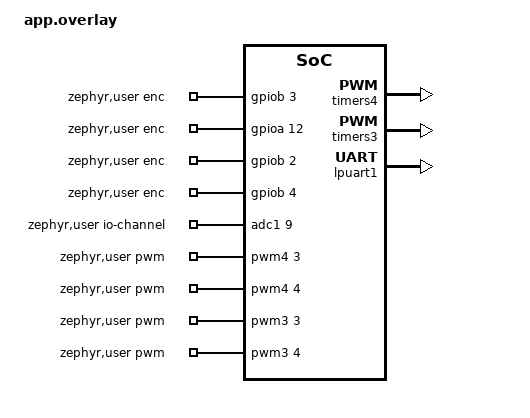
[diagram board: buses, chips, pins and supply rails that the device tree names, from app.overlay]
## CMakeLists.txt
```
cmake_minimum_required(VERSION 3.20.0)
list(APPEND ZEPHYR_EXTRA_MODULES /work/micro_ros_zephyr_module/modules/libmicroros)
find_package(Zephyr REQUIRED HINTS $ENV{ZEPHYR_BASE})
project(unoq_base)
# The 2WD base controller for the UNO Q's STM32U585. Kinematics and PID are the
# Arduino firmware's own files (firmware/common/lib), compiled against a shim
# Arduino.h; build.sh copies them to common/ beside this app.
target_sources(app PRIVATE
    src/main.cpp src/env.cpp src/drive.cpp src/test_sensors.cpp src/uart_link.cpp
    common/kinematics/kinematics.cpp common/pid/pid.cpp)
target_include_directories(app PRIVATE src src/shim common/kinematics common/pid)
# rcutils headers ask for C11 Annex K; picolibc + Zephyr 4.4 cannot provide it (see the module patch).
target_compile_definitions(app PRIVATE __STDC_WANT_LIB_EXT1__=0)
```

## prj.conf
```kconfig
# 2WD base controller on the UNO Q MCU (Zephyr 4.4 + micro-ROS jazzy).
CONFIG_MICROROS=y
CONFIG_MICROROS_TRANSPORT_SERIAL=y
# The Arduino firmware's limits (firmware/atomic.meta): an Odometry message does not
# fit a 512-byte MTU, and a best-effort stream cannot fragment.
CONFIG_MICROROS_PUBLISHERS="11"
CONFIG_MICROROS_SUBSCRIBERS="2"
CONFIG_MICROROS_XRCE_DDS_MTU="1024"

CONFIG_CPP=y
CONFIG_STD_CPP17=y
CONFIG_REQUIRES_FULL_LIBCPP=y
CONFIG_FPU=y
CONFIG_GPIO=y
CONFIG_PWM=y
CONFIG_CRC=y
# test_sensors: the Qwiic bus (i2c4), A0, the chip's unique ID
CONFIG_I2C=y
CONFIG_ADC=y
CONFIG_HWINFO=y

CONFIG_MAIN_STACK_SIZE=25000
CONFIG_MAIN_THREAD_PRIORITY=3

# Zephyr 4.4: picolibc is the default C library; clock_gettime() comes from POSIX_TIMERS.
CONFIG_POSIX_API=y
CONFIG_POSIX_TIMERS=y
CONFIG_POSIX_DEVICE_IO=y

CONFIG_STDOUT_CONSOLE=y
CONFIG_LOG=y
CONFIG_SERIAL=y
CONFIG_UART_INTERRUPT_DRIVEN=y
CONFIG_UART_USE_RUNTIME_CONFIGURE=y

# The MCU's UART console (usart1, D0/D1) does not reach Linux. printk and the fatal-error
# report go to a RAM buffer instead, read over SWD:
#   openocd ... -c "init; halt; dump_image ram_console.bin <&ram_console_buf> 4096"
CONFIG_RAM_CONSOLE=y
CONFIG_RAM_CONSOLE_BUFFER_SIZE=4096
CONFIG_LOG_MODE_MINIMAL=y
# The UART console hooks printk after the RAM console and would take it back.
CONFIG_UART_CONSOLE=n
```

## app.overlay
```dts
/*
 * UNO Q 2WD pin plan (cockpit/docs/unoq-zephyr.md), checked against Zephyr's
 * boards/arduino/uno_q/arduino_r3_connector.dtsi:
 *   motor 1 (left)  IN1/IN2  D9/D10  PB8/PB9  TIM4 CH3/CH4
 *   motor 2 (right) IN1/IN2  D3/D6   PB0/PB1  TIM3 CH3/CH4
 *   encoder 1 A/B            D2/D4   PB3/PA12
 *   encoder 2 A/B            D7/D8   PB2/PB4
 * A two-PWM bridge (DRV8833 class): forward drives IN1, reverse drives IN2.
 */
#include <zephyr/dt-bindings/pwm/pwm.h>
#include <zephyr/dt-bindings/gpio/gpio.h>

/ {
	zephyr,user {
		/* m1 in1, m1 in2, m2 in1, m2 in2; the period is set at run time from pwm_freq */
		pwms = <&pwm4 3 PWM_USEC(50) PWM_POLARITY_NORMAL>,
		       <&pwm4 4 PWM_USEC(50) PWM_POLARITY_NORMAL>,
		       <&pwm3 3 PWM_USEC(50) PWM_POLARITY_NORMAL>,
		       <&pwm3 4 PWM_USEC(50) PWM_POLARITY_NORMAL>;
		/* m1 A, m1 B, m2 A, m2 B -- EXTI lines 3, 12, 2, 4: all distinct */
		enc-gpios = <&gpiob 3 GPIO_PULL_UP>, <&gpioa 12 GPIO_PULL_UP>,
			    <&gpiob 2 GPIO_PULL_UP>, <&gpiob 4 GPIO_PULL_UP>;
		/* battery sense: A0 = PA4 = ADC1 IN9 (the board defines the channel); not 5 V tolerant */
		io-channels = <&adc1 9>;
	};
};

&timers4 {
	status = "okay";
	st,prescaler = <0>;
	pwm4: pwm {
		status = "okay";
		pinctrl-0 = <&tim4_ch3_pb8 &tim4_ch4_pb9>;
		pinctrl-names = "default";
	};
};

&timers3 {
	status = "okay";
	st,prescaler = <0>;
	pwm3: pwm {
		status = "okay";
		pinctrl-0 = <&tim3_ch3_pb0 &tim3_ch4_pb1>;
		pinctrl-names = "default";
	};
};

/*
 * micro-ROS on lpuart1, the internal link to the QRB2210 (/dev/ttyHS1). The LPUART's
 * 8-byte hardware FIFOs are off unless asked for (CR1.FIFOEN); without them a byte
 * every 3.3 us at 3 Mbaud overran the per-byte interrupt path (ISR.ORE set).
 */
&lpuart1 {
	status = "okay";
	fifo-enable;
};

/*
 * The robot's env block (firmware/common/lib/mcu_env/mcu_env.h layout: CRC32, then
 * "key=value\0...\0\0"), in the last 8 KB page of bank 2 -- clear of Arduino's
 * sketch area (storage, 0xe0000-0xfffff) and of any image this app could grow to.
 */
&flash0 {
	partitions {
		lino_env_partition: partition@1fe000 {
			label = "lino-env";
			reg = <0x001fe000 DT_SIZE_K(8)>;
			read-only;
		};
	};
};
```

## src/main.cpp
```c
// linorobot2 base controller for the Arduino UNO Q's STM32U585 (Zephyr + micro-ROS).
//
// The same contract as the Arduino firmware (firmware/src/main.cpp), so the stack
// cannot tell the boards apart: node `linorobot_base_node`, `odom/unfiltered` at
// 50 Hz (frames odom -> base_footprint), `cmd_vel` with a 200 ms dead-man, the env
// block's keys and defaults. The link is lpuart1 <-> the QRB2210's /dev/ttyHS1.
//
// Phase 3 of cockpit/docs/unoq-zephyr.md: 2WD only, no IMU or battery yet.
#include <math.h>
#include <stdio.h>
#include <string.h>
#include <time.h>
#include <zephyr/kernel.h>
#include <zephyr/drivers/gpio.h>
#include <zephyr/drivers/uart.h>
#include <zephyr/sys/printk.h>

#include <rcl/error_handling.h>
#include <rcl/rcl.h>
#include <rclc/executor.h>
#include <rclc/rclc.h>
#include <rmw_microros/rmw_microros.h>
#include <geometry_msgs/msg/twist.h>
#include <geometry_msgs/msg/twist_stamped.h>
#include <nav_msgs/msg/odometry.h>

#include "drive.h"
#include "env.h"
#include "kinematics.h"
#include "pid.h"
#include "test_sensors.h"
#include "uart_link.h"

#define NODE_NAME      "linorobot_base_node"
#define CONTROL_MS     20      // 50 Hz, as every other board
#define CMD_TIMEOUT_MS 200     // the Arduino firmware's dead-man

#define RCOK(fn) ((fn) == RCL_RET_OK)
// For calls whose failure there is nothing to do about (teardown, a best-effort
// publish): rcl marks them warn_unused_result, which a (void) cast does not silence.
static inline void rcIgnore(rcl_ret_t rc) { (void)rc; }

static const struct gpio_dt_spec led = GPIO_DT_SPEC_GET(DT_ALIAS(led0), gpios);

static rcl_allocator_t allocator;
static rclc_support_t support;
static rcl_node_t node;
static rcl_publisher_t odom_pub;
static rcl_subscription_t twist_sub, twist_stamped_sub;
static rcl_timer_t control_timer;
static rclc_executor_t executor;

static nav_msgs__msg__Odometry odom_msg;
static geometry_msgs__msg__Twist twist_msg;
static geometry_msgs__msg__TwistStamped twist_stamped_msg;
static char frame_odom[] = "odom", frame_base[] = "base_footprint";
static char twist_stamped_frame[32];

static bool stamped_cmd_vel;
static bool drive_enabled;
static int64_t last_cmd_ms = -1000000;
static int64_t last_control_ms;
static Kinematics *kinematics;
static PID *pid[DRIVE_MOTORS];
static double x_pos, y_pos, heading;
static float pose_cov[6] = {0.0001f, 0.0001f, 0, 0, 0, 0.0001f};
static float twist_cov[6] = {0.00001f, 0.00001f, 0, 0, 0, 0.00001f};

static void twistCallback(const void *msgin)
{
    (void)msgin;
    last_cmd_ms = k_uptime_get();
    gpio_pin_toggle_dt(&led);
}

static void twistStampedCallback(const void *msgin)
{
    (void)msgin;
    twist_msg = twist_stamped_msg.twist;
    last_cmd_ms = k_uptime_get();
    gpio_pin_toggle_dt(&led);
}

static void stamp(builtin_interfaces__msg__Time *t)
{
    const int64_t ns = rmw_uros_epoch_nanos();
    t->sec = (int32_t)(ns / 1000000000LL);
    t->nanosec = (uint32_t)(ns % 1000000000LL);
}

static void controlCallback(rcl_timer_t *timer, int64_t last_call_time)
{
    (void)last_call_time;
    if (timer == NULL)
        return;
    const int64_t now = k_uptime_get();
    const float dt = (float)(now - last_control_ms) / 1000.0f;
    last_control_ms = now;

    if (now - last_cmd_ms >= CMD_TIMEOUT_MS) {
        twist_msg.linear.x = twist_msg.linear.y = twist_msg.angular.z = 0.0;
        gpio_pin_set_dt(&led, 0);
    }

    float rpm[DRIVE_MOTORS];
    driveMeasure(dt, rpm);
    if (drive_enabled) {
        const Kinematics::rpm req = kinematics->getRPM((float)twist_msg.linear.x, 0.0f,
                                                       (float)twist_msg.angular.z);
        const float target[DRIVE_MOTORS] = {req.motor1, req.motor2};
        for (int m = 0; m < DRIVE_MOTORS; m++)
            driveSpin(m, (int)pid[m]->compute(target[m], rpm[m]));
    }

    const Kinematics::velocities v = kinematics->getVelocities(rpm[0], rpm[1], 0.0f, 0.0f);
    heading += v.angular_z * dt;
    x_pos += v.linear_x * cos(heading) * dt;
    y_pos += v.linear_x * sin(heading) * dt;

    stamp(&odom_msg.header.stamp);
    odom_msg.pose.pose.position.x = x_pos;
    odom_msg.pose.pose.position.y = y_pos;
    odom_msg.pose.pose.orientation.z = sin(heading / 2.0);
    odom_msg.pose.pose.orientation.w = cos(heading / 2.0);
    odom_msg.twist.twist.linear.x = v.linear_x;
    odom_msg.twist.twist.linear.y = 0.0;
    odom_msg.twist.twist.angular.z = v.angular_z;
    rcIgnore(rcl_publish(&odom_pub, &odom_msg, NULL));
}

static void initOdomMsg(void)
{
    nav_msgs__msg__Odometry__init(&odom_msg);
    odom_msg.header.frame_id.data = frame_odom;
    odom_msg.header.frame_id.size = strlen(frame_odom);
    odom_msg.header.frame_id.capacity = sizeof(frame_odom);
    odom_msg.child_frame_id.data = frame_base;
    odom_msg.child_frame_id.size = strlen(frame_base);
    odom_msg.child_frame_id.capacity = sizeof(frame_base);
    for (int i = 0; i < 6; i++) {
        odom_msg.pose.covariance[i * 7] = pose_cov[i];
        odom_msg.twist.covariance[i * 7] = twist_cov[i];
    }
}

static bool createEntities(void)
{
    allocator = rcl_get_default_allocator();
    rcl_init_options_t opts = rcl_get_zero_initialized_init_options();
    if (!RCOK(rcl_init_options_init(&opts, allocator)))
        return false;
    rcIgnore(rcl_init_options_set_domain_id(&opts, (size_t)envInt("domain_id", 0)));
    const rcl_ret_t rc = rclc_support_init_with_options(&support, 0, NULL, &opts, &allocator);
    rcIgnore(rcl_init_options_fini(&opts));
    if (!RCOK(rc))
        return false;
    if (!RCOK(rclc_node_init_default(&node, envGet("node", NODE_NAME), "", &support)))
        return false;
    // The 50 Hz topic takes the env's QoS, best effort unless told otherwise.
    const bool best_effort = envFlag("best_effort", true);
    if (!RCOK((best_effort ? rclc_publisher_init_best_effort : rclc_publisher_init_default)(
            &odom_pub, &node, ROSIDL_GET_MSG_TYPE_SUPPORT(nav_msgs, msg, Odometry), "odom/unfiltered")))
        return false;
    size_t handles = 2;
    if (stamped_cmd_vel) {
        if (!RCOK(rclc_subscription_init_default(&twist_stamped_sub, &node,
                ROSIDL_GET_MSG_TYPE_SUPPORT(geometry_msgs, msg, TwistStamped), "cmd_vel")))
            return false;
        if (!RCOK(rclc_subscription_init_default(&twist_sub, &node,
                ROSIDL_GET_MSG_TYPE_SUPPORT(geometry_msgs, msg, Twist), "cmd_vel_unstamped")))
            return false;
        handles = 3;
    } else if (!RCOK(rclc_subscription_init_default(&twist_sub, &node,
                   ROSIDL_GET_MSG_TYPE_SUPPORT(geometry_msgs, msg, Twist), "cmd_vel"))) {
        return false;
    }
    if (!RCOK(rclc_timer_init_default2(&control_timer, &support, RCL_MS_TO_NS(CONTROL_MS),
                                       controlCallback, true)))
        return false;
    executor = rclc_executor_get_zero_initialized_executor();
    if (!RCOK(rclc_executor_init(&executor, &support.context, handles, &allocator)))
        return false;
    if (stamped_cmd_vel &&
        !RCOK(rclc_executor_add_subscription(&executor, &twist_stamped_sub, &twist_stamped_msg,
                                             twistStampedCallback, ON_NEW_DATA)))
        return false;
    if (!RCOK(rclc_executor_add_subscription(&executor, &twist_sub, &twist_msg, twistCallback, ON_NEW_DATA)))
        return false;
    if (!RCOK(rclc_executor_add_timer(&executor, &control_timer)))
        return false;
    rmw_uros_sync_session(1000);
    last_control_ms = k_uptime_get();
    return true;
}

static void destroyEntities(void)
{
    rmw_context_t *ctx = rcl_context_get_rmw_context(&support.context);
    (void)rmw_uros_set_context_entity_destroy_session_timeout(ctx, 0);
    rcIgnore(rcl_publisher_fini(&odom_pub, &node));
    rcIgnore(rcl_subscription_fini(&twist_sub, &node));
    if (stamped_cmd_vel)
        rcIgnore(rcl_subscription_fini(&twist_stamped_sub, &node));
    rcIgnore(rcl_timer_fini(&control_timer));
    rcIgnore(rclc_executor_fini(&executor));
    rcIgnore(rcl_node_fini(&node));
    rcIgnore(rclc_support_fini(&support));
}

static void stopWheels(void)
{
    for (int m = 0; m < DRIVE_MOTORS; m++)
        driveSpin(m, 0);
}

int main(void)
{
    gpio_pin_configure_dt(&led, GPIO_OUTPUT_INACTIVE);
    envInit();
    // The env's `app` picks what this image runs, as on the other boards.
    const char *app = envGet("app", "base");
    if (strcmp(app, "test_sensors") == 0)
        testSensors();
    if (strcmp(app, "base") != 0)
        printk("[base] app=%s is not in this image; running base\n", app);

    const char *base = envGet("base", "2wd");
    drive_enabled = strcmp(base, "2wd") == 0;
    if (!drive_enabled)
        printk("[base] env base=%s: this board drives two wheels only; holding the motors\n", base);
    stamped_cmd_vel = envFlag("stamped_cmd_vel", false);   // jazzy: unstamped, as the Arduino firmware
    twist_stamped_msg.header.frame_id.data = twist_stamped_frame;
    twist_stamped_msg.header.frame_id.capacity = sizeof(twist_stamped_frame);

    kinematics = new Kinematics(Kinematics::DIFFERENTIAL_DRIVE,
                                envInt("max_rpm", 140), envFloat("rpm_ratio", 0.80f),
                                envFloat("motor_v", 24.0f), envFloat("power_v", 12.0f),
                                envFloat("wheel_d", 0.1f), envFloat("lr_dist", 0.271f),
                                0.0f, envFloat("angular_scale", 1.0f));
    if (!driveInit())
        printk("[base] some drive outputs failed to initialise\n");
    const float pmax = (float)drivePwmMax();
    for (int m = 0; m < DRIVE_MOTORS; m++)
        pid[m] = new PID(-pmax, pmax, envFloat("kp", 0.6f), envFloat("ki", 0.8f), envFloat("kd", 0.5f));
    initOdomMsg();
    printk("[base] linorobot2 UNO Q base: %s, %s cmd_vel\n", base, stamped_cmd_vel ? "stamped" : "unstamped");

    // The link's speed is the env's `baud`, 4000000 by default (user, 2026-10-05). The
    // link never leaves the board, so it is not held to the 921600 of the Arduino serial
    // boards' cables. At the board file's 115200 one Odometry message (~730 bytes) takes
    // 63 ms against a 20 ms control period and the polled transport write owns the CPU.
    // Sampled with 50 Hz odom: the write took 43 % of the CPU at 921600, 23 % at 1.5 M,
    // 13 % at 2 M, ~10 % at 3 M and 4 M -- the last two only with the LPUART's hardware
    // FIFOs on (app.overlay), without which 3 M overran.
    const struct device *link = DEVICE_DT_GET(DT_NODELABEL(lpuart1));
    struct uart_config link_cfg;
    const int baud = envInt("baud", 4000000);
    if (uart_config_get(link, &link_cfg) == 0) {
        link_cfg.baudrate = (uint32_t)baud;
        const int rc = uart_configure(link, &link_cfg);
        printk("[base] lpuart1 -> /dev/ttyHS1 at %d baud%s\n", baud, rc ? " FAILED" : "");
    }

    // Our interrupt-driven transport (uart_link.cpp), not the module's polled one.
    // Framing on: the link is a byte stream, as every serial micro-ROS transport.
    rmw_uros_set_custom_transport(true, NULL, uartLinkOpen, uartLinkClose, uartLinkWrite, uartLinkRead);

    enum { WAITING, CONNECTED } state = WAITING;
    int64_t last_ping = 0;
    for (;;) {
        if (state == WAITING) {
            stopWheels();
            if (rmw_uros_ping_agent(100, 1) == RMW_RET_OK) {
                if (createEntities()) {
                    printk("[base] agent connected\n");
                    state = CONNECTED;
                    last_ping = k_uptime_get();
                } else {
                    destroyEntities();
                }
            }
            k_msleep(200);
            continue;
        }
        rclc_executor_spin_some(&executor, RCL_MS_TO_NS(5));
        const int64_t now = k_uptime_get();
        if (now - last_ping > 1000) {
            last_ping = now;
            if (rmw_uros_ping_agent(50, 3) != RMW_RET_OK) {
                printk("[base] agent lost\n");
                stopWheels();
                destroyEntities();
                state = WAITING;
                continue;
            }
            if (!rmw_uros_epoch_synchronized())
                rmw_uros_sync_session(100);
        }
        static int64_t last_stats;
        if (now - last_stats >= 10000) {
            last_stats = now;
            struct UartLinkStats st;
            uartLinkStats(&st);
            printk("[link] tx %u rx %u bytes; tx waits %u, tx dropped %u, rx dropped %u, uart errors %u\n",
                   (unsigned)st.tx_bytes, (unsigned)st.rx_bytes, (unsigned)st.tx_full_waits,
                   (unsigned)st.tx_dropped, (unsigned)st.rx_dropped, (unsigned)st.uart_errors);
        }
        k_yield();
    }
}
```

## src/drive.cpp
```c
#include "drive.h"

#include <math.h>
#include <zephyr/device.h>
#include <zephyr/drivers/gpio.h>
#include <zephyr/drivers/pwm.h>
#include <zephyr/irq.h>
#include <zephyr/sys/printk.h>

#include "env.h"

#define USER_NODE DT_PATH(zephyr_user)

// in1/in2 per motor, in the overlay's order
static const struct pwm_dt_spec pwm_out[2 * DRIVE_MOTORS] = {
    PWM_DT_SPEC_GET_BY_IDX(USER_NODE, 0), PWM_DT_SPEC_GET_BY_IDX(USER_NODE, 1),
    PWM_DT_SPEC_GET_BY_IDX(USER_NODE, 2), PWM_DT_SPEC_GET_BY_IDX(USER_NODE, 3),
};
// A/B per motor
static const struct gpio_dt_spec enc_in[2 * DRIVE_MOTORS] = {
    GPIO_DT_SPEC_GET_BY_IDX(USER_NODE, enc_gpios, 0), GPIO_DT_SPEC_GET_BY_IDX(USER_NODE, enc_gpios, 1),
    GPIO_DT_SPEC_GET_BY_IDX(USER_NODE, enc_gpios, 2), GPIO_DT_SPEC_GET_BY_IDX(USER_NODE, enc_gpios, 3),
};

static uint32_t period_ns;
static int pwm_max;
static bool sim;
static float max_rpm, volt_ratio;
static int cpr[DRIVE_MOTORS];
static bool motor_inv[DRIVE_MOTORS], enc_inv[DRIVE_MOTORS];

static volatile int32_t counts[DRIVE_MOTORS];
static int32_t last_counts[DRIVE_MOTORS];
static uint8_t enc_state[DRIVE_MOTORS];
static struct gpio_callback enc_cb[2 * DRIVE_MOTORS];

// The command each wheel last got, and the model's speed, for sim_wheel.
static int last_pwm[DRIVE_MOTORS];
static float sim_rpm[DRIVE_MOTORS];
static double sim_counts[DRIVE_MOTORS];

// x4 quadrature: index (previous AB << 2) | current AB. Invalid jumps (both
// lines changed) count nothing rather than guess a direction.
static const int8_t QUAD[16] = {0, -1, 1, 0, 1, 0, 0, -1, -1, 0, 0, 1, 0, 1, -1, 0};

static void encIsr(const struct device *dev, struct gpio_callback *cb, uint32_t pins)
{
    ARG_UNUSED(dev); ARG_UNUSED(pins);
    const int m = (int)((cb - enc_cb) / 2);
    const uint8_t ab = (uint8_t)((gpio_pin_get_dt(&enc_in[2 * m]) << 1) | gpio_pin_get_dt(&enc_in[2 * m + 1]));
    counts[m] += QUAD[(enc_state[m] << 2) | ab];
    enc_state[m] = ab;
}

bool driveInit(void)
{
    const int freq = envInt("pwm_freq", 20000);
    const int bits = envInt("pwm_bits", 10);
    period_ns = (uint32_t)(1000000000ULL / (uint32_t)(freq > 0 ? freq : 20000));
    pwm_max = (1 << (bits > 0 && bits < 16 ? bits : 10)) - 1;
    sim = envFlag("sim_wheel", false);
    max_rpm = envFloat("max_rpm", 140.0f);
    const float op = envFloat("motor_v", 24.0f), pw = envFloat("power_v", 12.0f);
    volt_ratio = op > 0.0f ? fminf(fmaxf(pw / op, 0.0f), 1.0f) : 1.0f;

    static const char *const CPR[]  = {"m1_cpr", "m2_cpr"};
    static const char *const MINV[] = {"m1_inv", "m2_inv"};
    static const char *const EINV[] = {"m1_enc_inv", "m2_enc_inv"};
    bool ok = true;
    for (int m = 0; m < DRIVE_MOTORS; m++) {
        cpr[m] = envInt(CPR[m], 144000);
        motor_inv[m] = envFlag(MINV[m], false);
        enc_inv[m] = envFlag(EINV[m], false);
    }
    for (int i = 0; i < 2 * DRIVE_MOTORS; i++) {
        if (!pwm_is_ready_dt(&pwm_out[i])) { printk("[drive] pwm %d not ready\n", i); ok = false; continue; }
        pwm_set_dt(&pwm_out[i], period_ns, 0);
    }
    if (!sim) {
        for (int i = 0; i < 2 * DRIVE_MOTORS; i++) {
            if (!gpio_is_ready_dt(&enc_in[i]) || gpio_pin_configure_dt(&enc_in[i], GPIO_INPUT)) {
                printk("[drive] encoder pin %d not ready\n", i); ok = false; continue;
            }
            gpio_init_callback(&enc_cb[i], encIsr, BIT(enc_in[i].pin));
            gpio_add_callback(enc_in[i].port, &enc_cb[i]);
            gpio_pin_interrupt_configure_dt(&enc_in[i], GPIO_INT_EDGE_BOTH);
        }
        for (int m = 0; m < DRIVE_MOTORS; m++)
            enc_state[m] = (uint8_t)((gpio_pin_get_dt(&enc_in[2 * m]) << 1) | gpio_pin_get_dt(&enc_in[2 * m + 1]));
    }
    printk("[drive] %s wheels, pwm %d Hz / %d bits, cpr %d/%d, max_rpm %.0f\n",
           sim ? "SIMULATED" : "real", (int)(1000000000ULL / period_ns), bits, cpr[0], cpr[1], (double)max_rpm);
    return ok;
}

int drivePwmMax(void) { return pwm_max; }
bool driveSimulated(void) { return sim; }

void driveSpin(int motor, int pwm)
{
    if (motor < 0 || motor >= DRIVE_MOTORS)
        return;
    if (pwm > pwm_max) pwm = pwm_max;
    if (pwm < -pwm_max) pwm = -pwm_max;
    last_pwm[motor] = pwm;
    const int signed_pwm = motor_inv[motor] ? -pwm : pwm;
    const uint32_t pulse = (uint32_t)((uint64_t)period_ns * (uint32_t)abs(signed_pwm) / (uint32_t)pwm_max);
    pwm_set_dt(&pwm_out[2 * motor],     period_ns, signed_pwm > 0 ? pulse : 0);
    pwm_set_dt(&pwm_out[2 * motor + 1], period_ns, signed_pwm < 0 ? pulse : 0);
}

// First-order wheel: the commanded duty sets a target speed, reached with a
// 150 ms time constant (sim_wheel.h's SIM_WHEEL_TAU_MS). The full model -- mass,
// friction, stall duty, battery sag -- is phase 4.
static void simAdvance(float dt_s)
{
    const float tau = 0.150f;
    const float k = 1.0f - expf(-dt_s / tau);
    for (int m = 0; m < DRIVE_MOTORS; m++) {
        const float target = (float)last_pwm[m] / (float)pwm_max * max_rpm * volt_ratio;
        sim_rpm[m] += (target - sim_rpm[m]) * k;
        sim_counts[m] += (double)sim_rpm[m] / 60.0 * cpr[m] * dt_s;
    }
}

void driveMeasure(float dt_s, float rpm_out[DRIVE_MOTORS])
{
    if (sim)
        simAdvance(dt_s);
    for (int m = 0; m < DRIVE_MOTORS; m++) {
        int32_t now;
        if (sim) {
            now = (int32_t)llround(sim_counts[m]);
        } else {
            const unsigned int key = irq_lock();
            now = counts[m];
            irq_unlock(key);
        }
        const int32_t delta = now - last_counts[m];
        last_counts[m] = now;
        float rpm = (dt_s > 0.0f && cpr[m] > 0) ? (float)delta / (float)cpr[m] / dt_s * 60.0f : 0.0f;
        rpm_out[m] = (enc_inv[m] && !sim) ? -rpm : rpm;
    }
}
```

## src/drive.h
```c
// The UNO Q's two wheels: PWM out, quadrature counts in -- or, with `sim_wheel`, a
// wheel model fed the same PWM and counted the same way, so one image runs both and
// the choice is the env's.
#pragma once
#include <stdbool.h>

#define DRIVE_MOTORS 2

bool  driveInit(void);
// Signed command in [-pwmMax(), pwmMax()]; 0 lets the bridge coast.
void  driveSpin(int motor, int pwm);
int   drivePwmMax(void);
// Wheel RPM over the time since the previous call (control loop only); advances
// the wheel model first when it is on.
void  driveMeasure(float dt_s, float rpm_out[DRIVE_MOTORS]);
bool  driveSimulated(void);
```

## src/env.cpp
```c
#include "env.h"

#include <stdlib.h>
#include <string.h>
#include <strings.h>
#include <zephyr/devicetree.h>
#include <zephyr/storage/flash_map.h>
#include <zephyr/sys/crc.h>
#include <zephyr/sys/printk.h>

#define ENV_SIZE     0x1000
#define ENV_CRC_LEN  4
#define ENV_DATA_LEN (ENV_SIZE - ENV_CRC_LEN)

// Internal flash is memory-mapped: the block is read where it lies.
#define ENV_ADDR (DT_REG_ADDR(DT_CHOSEN(zephyr_flash)) + \
                  DT_REG_ADDR(DT_NODELABEL(lino_env_partition)))

static const uint8_t *env_base;
static bool env_ok;

void envInit(void)
{
    env_base = (const uint8_t *)ENV_ADDR;
    uint32_t stored;
    memcpy(&stored, env_base, sizeof(stored));
    const uint32_t actual = crc32_ieee(env_base + ENV_CRC_LEN, ENV_DATA_LEN);
    env_ok = stored == actual;
    if (env_ok)
        printk("[env] 0x%08x: %d bytes, CRC32 %08x OK\n", (unsigned)ENV_ADDR, ENV_SIZE, actual);
    else
        printk("[env] 0x%08x: CRC32 %08x, stored %08x -- no env, every key takes its default\n",
               (unsigned)ENV_ADDR, actual, stored);
}

bool envValid(void) { return env_ok; }

const char *envGet(const char *key, const char *fallback)
{
    if (!env_ok)
        return fallback;
    const size_t klen = strlen(key);
    const char *p = (const char *)env_base + ENV_CRC_LEN;
    const char *end = p + ENV_DATA_LEN;
    while (p < end && *p) {
        const size_t n = strnlen(p, end - p);
        if (n > klen && p[klen] == '=' && strncmp(p, key, klen) == 0)
            return p + klen + 1;
        p += n + 1;
    }
    return fallback;
}

int envInt(const char *key, int fallback)
{
    const char *v = envGet(key, NULL);
    return (v && *v) ? (int)strtol(v, NULL, 0) : fallback;
}

float envFloat(const char *key, float fallback)
{
    const char *v = envGet(key, NULL);
    return (v && *v) ? strtof(v, NULL) : fallback;
}

bool envFlag(const char *key, bool fallback)
{
    const char *v = envGet(key, NULL);
    if (!v || !*v)
        return fallback;
    return !(strcmp(v, "0") == 0 || strcasecmp(v, "false") == 0 ||
             strcasecmp(v, "no") == 0);
}

bool envFloatVec(const char *key, float *out, int n)
{
    const char *v = envGet(key, NULL);
    if (!v || !*v)
        return false;
    float vals[8];
    int got = 0;
    const char *p = v;
    while (*p && got < 8 && got < n) {
        char *end;
        vals[got] = strtof(p, &end);
        if (end == p)
            break;
        got++;
        p = end;
        while (*p == ',' || *p == ' ' || *p == '[' || *p == ']')
            p++;
    }
    if (got == 1) {
        for (int i = 0; i < n; i++)
            out[i] = vals[0];
        return true;
    }
    if (got != n)
        return false;
    for (int i = 0; i < n; i++)
        out[i] = vals[i];
    return true;
}
```

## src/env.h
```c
// The robot's env block, read in place from flash.
//
// The layout is the Arduino firmware's (firmware/common/lib/mcu_env/mcu_env.h): a
// little-endian CRC32 of the 4 KB that follow it, then "key=value\0...\0\0" padded
// with 0xFF -- written by scripts/mcu_env.py, so one tool keys every board. A blank
// or corrupt block is not fatal: every accessor returns its fallback.
#pragma once
#include <stdbool.h>
#include <stdint.h>

void        envInit(void);
bool        envValid(void);
const char *envGet(const char *key, const char *fallback);
int         envInt(const char *key, int fallback);
float       envFloat(const char *key, float fallback);
bool        envFlag(const char *key, bool fallback);
// Diagonal covariances: one value fills every axis, or give all n ("a,b,c"). False when
// the key is absent, so the caller keeps its own default -- as mcu_env.h.
bool        envFloatVec(const char *key, float *out, int n);   // "0"/"false"/"no" are false, as mcu_env.cpp
```

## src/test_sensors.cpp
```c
#include "test_sensors.h"

#include <zephyr/device.h>
#include <zephyr/drivers/adc.h>
#include <zephyr/drivers/gpio.h>
#include <zephyr/drivers/hwinfo.h>
#include <zephyr/drivers/i2c.h>
#include <zephyr/kernel.h>
#include <zephyr/sys/printk.h>

#include "env.h"

#define USER_NODE DT_PATH(zephyr_user)

static const struct adc_dt_spec batt = ADC_DT_SPEC_GET_BY_IDX(USER_NODE, 0);
static const struct gpio_dt_spec enc[4] = {
    GPIO_DT_SPEC_GET_BY_IDX(USER_NODE, enc_gpios, 0), GPIO_DT_SPEC_GET_BY_IDX(USER_NODE, enc_gpios, 1),
    GPIO_DT_SPEC_GET_BY_IDX(USER_NODE, enc_gpios, 2), GPIO_DT_SPEC_GET_BY_IDX(USER_NODE, enc_gpios, 3),
};

static void scanI2c(const struct device *bus)
{
    if (!device_is_ready(bus)) {
        printk("[i2c] %s not ready\n", bus->name);
        return;
    }
    int found = 0;
    printk("[i2c] %s:", bus->name);
    for (uint8_t addr = 0x08; addr <= 0x77; addr++) {
        uint8_t b;
        if (i2c_read(bus, &b, 1, addr) == 0) {
            printk(" 0x%02x", addr);
            found++;
        }
    }
    printk(found ? "  (%d found)\n" : " nothing answered\n", found);
}

static int readBatteryMv(void)
{
    if (!adc_is_ready_dt(&batt) || adc_channel_setup_dt(&batt))
        return -1;
    int16_t raw = 0;
    struct adc_sequence seq = {};
    seq.buffer = &raw;
    seq.buffer_size = sizeof(raw);
    if (adc_sequence_init_dt(&batt, &seq) || adc_read_dt(&batt, &seq))
        return -1;
    int32_t mv = raw;
    return adc_raw_to_millivolts_dt(&batt, &mv) ? -1 : (int)mv;
}

void testSensors(void)
{
    uint8_t id[12] = {};
    const ssize_t n = hwinfo_get_device_id(id, sizeof(id));
    printk("linorobot2 unoq app=test_sensors uid=");
    for (ssize_t i = 0; i < n; i++)
        printk("%02X", id[i]);
    printk("\n[env] %s\n", envValid() ? "valid" : "BLANK or corrupt -- every key at its default");
    for (int i = 0; i < 4; i++)
        gpio_pin_configure_dt(&enc[i], GPIO_INPUT);

    const float r1 = envFloat("bat_r1", 0.0f), r2 = envFloat("bat_r2", 0.0f);
    for (int pass = 1;; pass++) {
        printk("--- pass %d, %lld ms\n", pass, k_uptime_get());
        scanI2c(DEVICE_DT_GET(DT_NODELABEL(i2c4)));
        const int mv = readBatteryMv();
        if (mv < 0)
            printk("[battery] A0: ADC read failed\n");
        else if (r1 > 0.0f && r2 > 0.0f)
            printk("[battery] A0 %d mV -> pack %.2f V (bat_r1 %.0f, bat_r2 %.0f)\n", mv,
                   (double)(mv / 1000.0f * (r1 + r2) / r2), (double)r1, (double)r2);
        else
            printk("[battery] A0 %d mV (no bat_r1/bat_r2: no divider configured, nothing published)\n", mv);
        printk("[encoders] m1 A=%d B=%d  m2 A=%d B=%d (pulled up: 1 = open)\n",
               gpio_pin_get_dt(&enc[0]), gpio_pin_get_dt(&enc[1]),
               gpio_pin_get_dt(&enc[2]), gpio_pin_get_dt(&enc[3]));
        k_msleep(2000);
    }
}
```

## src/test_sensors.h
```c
// app=test_sensors: what is on the board, printed to the console (the RAM console
// on this board; read it over SWD). No micro-ROS, no motor output. Never returns.
#pragma once
void testSensors(void);
```

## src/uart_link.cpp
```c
#include "uart_link.h"

#include <string.h>
#include <zephyr/device.h>
#include <zephyr/drivers/uart.h>
#include <zephyr/kernel.h>
#include <zephyr/sys/ring_buffer.h>

#include <uxr/client/profile/transport/custom/custom_transport.h>

static const struct device *const link = DEVICE_DT_GET(DT_NODELABEL(lpuart1));

// TX holds a few frames: micro-ROS writes a whole serialized frame per call (MTU 1024
// plus framing), and the 50 Hz odom plus the session's own traffic must not stall on it.
RING_BUF_DECLARE(tx_ring, 4096);
RING_BUF_DECLARE(rx_ring, 4096);
static K_SEM_DEFINE(rx_sem, 0, 1);
static struct UartLinkStats stats;

static void linkIsr(const struct device *dev, void *user)
{
    ARG_UNUSED(user);
    while (uart_irq_update(dev) && uart_irq_is_pending(dev)) {
        if (uart_irq_rx_ready(dev)) {
            uint8_t buf[32];
            const int n = uart_fifo_read(dev, buf, sizeof(buf));
            if (n > 0) {
                const uint32_t put = ring_buf_put(&rx_ring, buf, (uint32_t)n);
                stats.rx_bytes += put;
                stats.rx_dropped += (uint32_t)n - put;
                k_sem_give(&rx_sem);
            }
        }
        if (uart_irq_tx_ready(dev)) {
            uint8_t *chunk;
            const uint32_t avail = ring_buf_get_claim(&tx_ring, &chunk, 16);
            if (avail == 0) {
                uart_irq_tx_disable(dev);
            } else {
                const int sent = uart_fifo_fill(dev, chunk, (int)avail);
                ring_buf_get_finish(&tx_ring, sent > 0 ? (uint32_t)sent : 0);
                if (sent > 0)
                    stats.tx_bytes += (uint32_t)sent;
            }
        }
        // uart_err_check() reads and clears the error flags; an uncleared overrun would
        // keep the interrupt pending forever (the 3 Mbaud hang before the FIFOs were on).
        if (uart_err_check(dev) > 0)
            stats.uart_errors++;
    }
}

bool uartLinkOpen(struct uxrCustomTransport *transport)
{
    ARG_UNUSED(transport);
    if (!device_is_ready(link))
        return false;
    // Called again on every reconnect and agent ping: start from empty queues.
    uart_irq_rx_disable(link);
    uart_irq_tx_disable(link);
    ring_buf_reset(&tx_ring);
    ring_buf_reset(&rx_ring);
    k_sem_reset(&rx_sem);
    uart_irq_callback_user_data_set(link, linkIsr, NULL);
    uart_irq_rx_enable(link);
    return true;
}

bool uartLinkClose(struct uxrCustomTransport *transport)
{
    ARG_UNUSED(transport);
    return true;   // leave the interrupts on: the next open resets the queues
}

size_t uartLinkWrite(struct uxrCustomTransport *transport, const uint8_t *buf, size_t len, uint8_t *err)
{
    ARG_UNUSED(transport);
    size_t done = 0;
    const int64_t deadline = k_uptime_get() + 50;   // ~20 KB at 4 Mbaud: a full queue drains in 10 ms
    bool waited = false;
    while (done < len) {
        // The ISR is the only consumer and cannot run while the lock is held, so the
        // producer side needs nothing more than this.
        const unsigned int key = irq_lock();
        const uint32_t put = ring_buf_put(&tx_ring, buf + done, (uint32_t)(len - done));
        irq_unlock(key);
        done += put;
        uart_irq_tx_enable(link);
        if (done < len) {
            if (k_uptime_get() > deadline) {
                stats.tx_dropped += (uint32_t)(len - done);
                *err = 1;
                break;
            }
            waited = true;
            k_usleep(100);
        }
    }
    if (waited)
        stats.tx_full_waits++;
    return done;
}

size_t uartLinkRead(struct uxrCustomTransport *transport, uint8_t *buf, size_t len, int timeout, uint8_t *err)
{
    ARG_UNUSED(transport);
    ARG_UNUSED(err);
    if (ring_buf_is_empty(&rx_ring))
        (void)k_sem_take(&rx_sem, K_MSEC(timeout > 0 ? timeout : 0));
    const unsigned int key = irq_lock();
    const uint32_t got = ring_buf_get(&rx_ring, buf, (uint32_t)len);
    irq_unlock(key);
    return got;
}

void uartLinkStats(struct UartLinkStats *out)
{
    const unsigned int key = irq_lock();
    *out = stats;
    irq_unlock(key);
}
```

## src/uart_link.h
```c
// The micro-ROS custom transport on lpuart1 (-> the QRB2210's /dev/ttyHS1), interrupt
// driven both ways. The module's own transport polls each TX byte out (uart_poll_out),
// so a ~730-byte Odometry held the CPU for the whole frame. Here write() only queues the
// frame; the UART interrupt drains the queue into the 8-byte hardware FIFO.
#pragma once
#include <stdbool.h>
#include <stddef.h>
#include <stdint.h>

#ifdef __cplusplus
extern "C" {
#endif
struct uxrCustomTransport;
bool   uartLinkOpen(struct uxrCustomTransport *transport);
bool   uartLinkClose(struct uxrCustomTransport *transport);
size_t uartLinkWrite(struct uxrCustomTransport *transport, const uint8_t *buf, size_t len, uint8_t *err);
size_t uartLinkRead(struct uxrCustomTransport *transport, uint8_t *buf, size_t len, int timeout, uint8_t *err);

struct UartLinkStats {
    uint32_t tx_bytes, rx_bytes;
    uint32_t tx_full_waits;   // write() found the queue full and had to wait for it
    uint32_t tx_dropped;      // bytes write() gave up on (queue still full at its deadline)
    uint32_t rx_dropped;      // bytes received with the RX queue full
    uint32_t uart_errors;     // overrun / framing / parity / noise, from uart_err_check()
};
void uartLinkStats(struct UartLinkStats *out);
#ifdef __cplusplus
}
#endif
```
